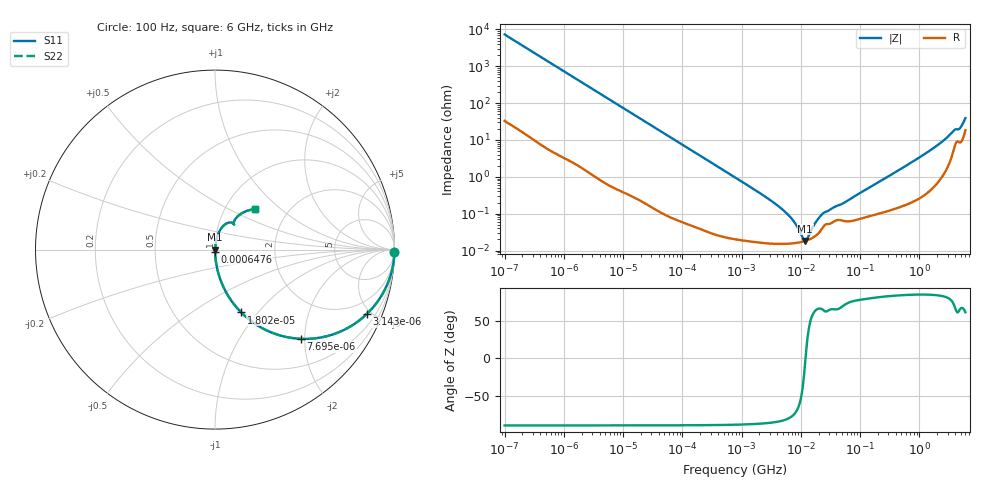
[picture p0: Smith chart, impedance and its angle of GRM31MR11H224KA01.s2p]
!Murata Part Number: GRM31MR11H224KA01
!These Parameters are Measured in Series Mode Connection
!Data Generated on Mar 30, 2021
!  o--ll--o
!Port1  Port2
!  o------o
!Operation Temp=25[degC], DC Bias Voltage=0[V]
!Freq. Start=100[Hz] Stop=6[GHz] 401[Steps]
# Hz S RI R 50
!Freq.(Hz) S11(Real) S11(Imag) S21(Real) S21(Imag) S12(Real) S12(Imag) S22(Real) S22(Imag)
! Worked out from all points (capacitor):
!   401 points, 100 Hz to 6 GHz, reference 50 ohm
!   read as one part in series: C = 218 nF near 109 Hz
!   lowest |Z| = 18.2 mohm at 11.89 MHz (marker M1)
!   series resonance near 12.01 MHz, so ESL is about 810 pH
!   S11 on the Smith chart (normalised r, x): 100 Hz: open; 3.143 kHz: 1.02, -4.69; 7.695 kHz: 1.01, -1.92; 18.02 kHz: 1.00, -0.82; 647.6 kHz: 1.00, -0.02; 6 GHz: 1.37, +0.69
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100  0.9998 -0.0137  0.000249 0.0137  0.000249 0.0137  0.9998 -0.0137
600  0.993 -0.0811  0.00696 0.0811  0.00696 0.0811  0.993 -0.0811
2008  0.9297 -0.2533  0.0703 0.2533  0.0703 0.2533  0.9297 -0.2533
3143  0.8451 -0.3595  0.1549 0.3595  0.1549 0.3595  0.8451 -0.3595
7695  0.4798 -0.4972  0.5202 0.4972  0.5202 0.4972  0.4798 -0.4972
18016  0.1462 -0.3504  0.8538 0.3504  0.8538 0.3504  0.1462 -0.3504
40335  0.0339 -0.1778  0.9661 0.1778  0.9661 0.1778  0.0339 -0.1778
123542  0.00414 -0.0601  0.9959 0.0601  0.9959 0.0601  0.00414 -0.0601
647581  0.000346 -0.0116  0.9997 0.0116  0.9997 0.0116  0.000346 -0.0116
774597  0.000295 -0.00966  0.9997 0.00966  0.9997 0.00966  0.000295 -0.00966
5079039  0.000153 -0.00123  0.9998 0.00123  0.9998 0.00123  0.000153 -0.00123
7599586  0.000158 -0.0006  0.9998 0.0006  0.9998 0.0006  0.000158 -0.0006
1.087309e7  0.000175 -0.000126  0.9998 0.000126  0.9998 0.000126  0.000175 -0.000126
1.189169e7  0.000182 -1.19e-05  0.9998 1.19e-05  0.9998 1.19e-05  0.000182 -1.19e-05
1.300572e7  0.000191 0.000102  0.9998 -0.000102  0.9998 -0.000102  0.000191 0.000102
1.555665e7  0.000218 0.000337  0.9998 -0.000337  0.9998 -0.000337  0.000218 0.000337
2.434276e7  0.000455 0.000947  0.9995 -0.000947  0.9995 -0.000947  0.000455 0.000947
3.124326e8  0.00132 0.0106  0.9987 -0.0106  0.9987 -0.0106  0.00132 0.0106
2.679998e9  0.0226 0.0981  0.9774 -0.0981  0.9774 -0.0981  0.0226 0.0981
3.8344e9  0.0771 0.1505  0.9229 -0.1505  0.9229 -0.1505  0.0771 0.1505
4.796499e9  0.1044 0.1524  0.8956 -0.1524  0.8956 -0.1524  0.1044 0.1524
6e9  0.2217 0.2267  0.7783 -0.2267  0.7783 -0.2267  0.2217 0.2267
